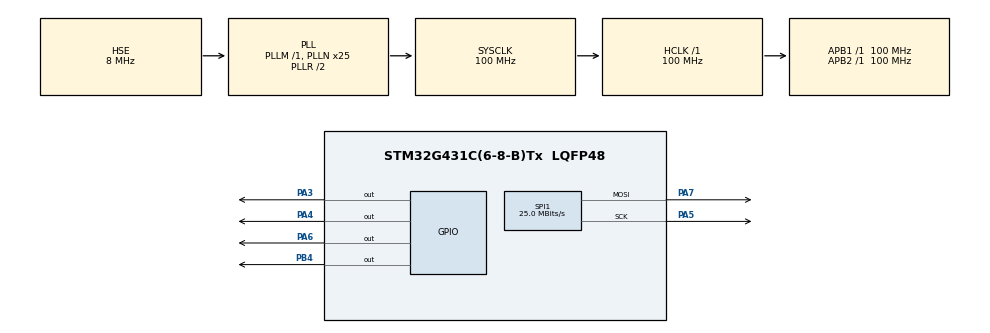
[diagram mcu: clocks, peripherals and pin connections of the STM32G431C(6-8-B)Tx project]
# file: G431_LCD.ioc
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Mcu.Family=STM32G4
Mcu.Name=STM32G431C(6-8-B)Tx
Mcu.Package=LQFP48
NVIC.PriorityGroup=NVIC_PRIORITYGROUP_4
NVIC.SPI1_IRQn=true\:0\:0\:false\:false\:true\:true\:true\:true
PA13.Mode=Serial_Wire
PA13.Signal=SYS_JTMS-SWDIO
PA14.Mode=Serial_Wire
PA14.Signal=SYS_JTCK-SWCLK
PA3.Signal=GPIO_Output
PA4.Signal=GPIO_Output
PA5.Mode=TX_Only_Simplex_Unidirect_Master
PA5.Signal=SPI1_SCK
PA6.Signal=GPIO_Output
PA7.Mode=TX_Only_Simplex_Unidirect_Master
PA7.Signal=SPI1_MOSI
PB4.Signal=GPIO_Output
PF0-OSC_IN.Mode=HSE-External-Oscillator
PF0-OSC_IN.Signal=RCC_OSC_IN
PF1-OSC_OUT.Mode=HSE-External-Oscillator
PF1-OSC_OUT.Signal=RCC_OSC_OUT
ProjectManager.HeapSize=0x200
ProjectManager.StackSize=0x400
ProjectManager.TargetToolchain=STM32CubeIDE
RCC.ADC12Freq_Value=100000000
RCC.AHBFreq_Value=100000000
RCC.APB1Freq_Value=100000000
RCC.APB1TimFreq_Value=100000000
RCC.APB2Freq_Value=100000000
RCC.APB2TimFreq_Value=100000000
RCC.CortexFreq_Value=100000000
RCC.EXTERNAL_CLOCK_VALUE=12288000
RCC.HCLKFreq_Value=100000000
RCC.HSE_VALUE=8000000
RCC.HSI48_VALUE=48000000
RCC.HSI_VALUE=16000000
RCC.LSE_VALUE=32768
RCC.PLLN=25
RCC.PLLSourceVirtual=RCC_PLLSOURCE_HSE
RCC.SYSCLKFreq_VALUE=100000000
RCC.SYSCLKSource=RCC_SYSCLKSOURCE_PLLCLK
RCC.USBFreq_Value=100000000
RCC.VCOOutputFreq_Value=200000000
SPI1.BaudRatePrescaler=SPI_BAUDRATEPRESCALER_4
SPI1.CalculateBaudRate=25.0 MBits/s
SPI1.DataSize=SPI_DATASIZE_8BIT
SPI1.Direction=SPI_DIRECTION_2LINES
SPI1.Mode=SPI_MODE_MASTER
SPI1.VirtualType=VM_MASTER
TIM1.AutoReloadPreload=TIM_AUTORELOAD_PRELOAD_ENABLE
TIM1.PeriodNoDither=9999
TIM1.Prescaler=99
VP_SYS_VS_DBSignals.Mode=DisableDeadBatterySignals
VP_TIM1_VS_ClockSourceINT.Mode=Internal
board=custom

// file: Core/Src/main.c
/* USER CODE BEGIN Header */
/**
  ******************************************************************************
  * @file           : main.c
  * @brief          : Main program body
  ******************************************************************************
  * @attention
  *
  * Copyright (c) 2023 STMicroelectronics.
  * All rights reserved.
  *
  * This software is licensed under terms that can be found in the LICENSE file
  * in the root directory of this software component.
  * If no LICENSE file comes with this software, it is provided AS-IS.
  *
  ******************************************************************************
  */
/* USER CODE END Header */
#include "main.h"
#include "spi.h"
#include "tim.h"
#include "gpio.h"

/* USER CODE BEGIN Includes */
#include "stm32g4xx_hal.h"
#include "st7735.h"
#include "stdio.h"
#include "string.h"
/* USER CODE END Includes */

void SystemClock_Config(void);

int main(void)
{

  /* MCU Configuration--------------------------------------------------------*/

  /* Reset of all peripherals, Initializes the Flash interface and the Systick. */
  HAL_Init();

  /* Configure the system clock */
  SystemClock_Config();

  /* Initialize all configured peripherals */
  MX_GPIO_Init();
  MX_SPI1_Init();
  MX_TIM1_Init();
  /* USER CODE BEGIN 2 */
  ST7735_Init();
    ST7735_WriteString(0,0,"test",Font_7x10,ST7735_BLUE,ST7735_WHITE);
//  ST7735_FillScreen(ST7735_RED);
  HAL_Delay(1000);
  /* USER CODE END 2 */

  /* Infinite loop */
  /* USER CODE BEGIN WHILE */
  char buffer[64];
  uint8_t time0 = 0;
  HAL_TIM_Base_Start(&htim1);
  while (1)
  {
      __HAL_TIM_SET_COUNTER(&htim1,0);
//      ST7735_FillScreen(ST7735_BLACK);
//      HAL_GPIO_WritePin(GPIOB,GPIO_PIN_4,GPIO_PIN_SET);
//      HAL_Delay(1000);
//      HAL_GPIO_WritePin(GPIOB,GPIO_PIN_4,GPIO_PIN_RESET);
//      HAL_Delay(1000);
//      ST7735_FillScreen(ST7735_RED);
//      ST7735_FillScreen(ST7735_GREEN);
//      ST7735_FillScreen(ST7735_BLUE);
//      ST7735_FillScreen(ST7735_BLACK);
      ST7735_FillScreen(ST7735_WHITE);
      time0 = __HAL_TIM_GET_COUNTER(&htim1);
      memset(buffer,0,sizeof (buffer));
      sprintf(buffer,"TIME: %d",time0);
      ST7735_WriteString(0,0,buffer,Font_7x10,ST7735_RED,ST7735_WHITE);
      memset(buffer,0,sizeof (buffer));
      sprintf(buffer,"FPS: %d",2000000/time0);      //不是真实屏幕帧率
      ST7735_WriteString(0,15,buffer,Font_7x10,ST7735_RED,ST7735_WHITE);
//      HAL_Delay(200);
    /* USER CODE END WHILE */

  }
}

void SystemClock_Config(void)
{
  RCC_OscInitTypeDef RCC_OscInitStruct = {0};
  RCC_ClkInitTypeDef RCC_ClkInitStruct = {0};

  /** Configure the main internal regulator output voltage
  */
  HAL_PWREx_ControlVoltageScaling(PWR_REGULATOR_VOLTAGE_SCALE1);

  /** Initializes the RCC Oscillators according to the specified parameters
  * in the RCC_OscInitTypeDef structure.
  */
  RCC_OscInitStruct.OscillatorType = RCC_OSCILLATORTYPE_HSE;
  RCC_OscInitStruct.HSEState = RCC_HSE_ON;
  RCC_OscInitStruct.PLL.PLLState = RCC_PLL_ON;
  RCC_OscInitStruct.PLL.PLLSource = RCC_PLLSOURCE_HSE;
  RCC_OscInitStruct.PLL.PLLM = RCC_PLLM_DIV1;
  RCC_OscInitStruct.PLL.PLLN = 25;
  RCC_OscInitStruct.PLL.PLLP = RCC_PLLP_DIV2;
  RCC_OscInitStruct.PLL.PLLQ = RCC_PLLQ_DIV2;
  RCC_OscInitStruct.PLL.PLLR = RCC_PLLR_DIV2;
  if (HAL_RCC_OscConfig(&RCC_OscInitStruct) != HAL_OK)
  {
    Error_Handler();
  }

  /** Initializes the CPU, AHB and APB buses clocks
  */
  RCC_ClkInitStruct.ClockType = RCC_CLOCKTYPE_HCLK|RCC_CLOCKTYPE_SYSCLK
                              |RCC_CLOCKTYPE_PCLK1|RCC_CLOCKTYPE_PCLK2;
  RCC_ClkInitStruct.SYSCLKSource = RCC_SYSCLKSOURCE_PLLCLK;
  RCC_ClkInitStruct.AHBCLKDivider = RCC_SYSCLK_DIV1;
  RCC_ClkInitStruct.APB1CLKDivider = RCC_HCLK_DIV1;
  RCC_ClkInitStruct.APB2CLKDivider = RCC_HCLK_DIV1;

  if (HAL_RCC_ClockConfig(&RCC_ClkInitStruct, FLASH_LATENCY_3) != HAL_OK)
  {
    Error_Handler();
  }
}

void Error_Handler(void)
{
  __disable_irq();
  while (1)
  {
  }
}
